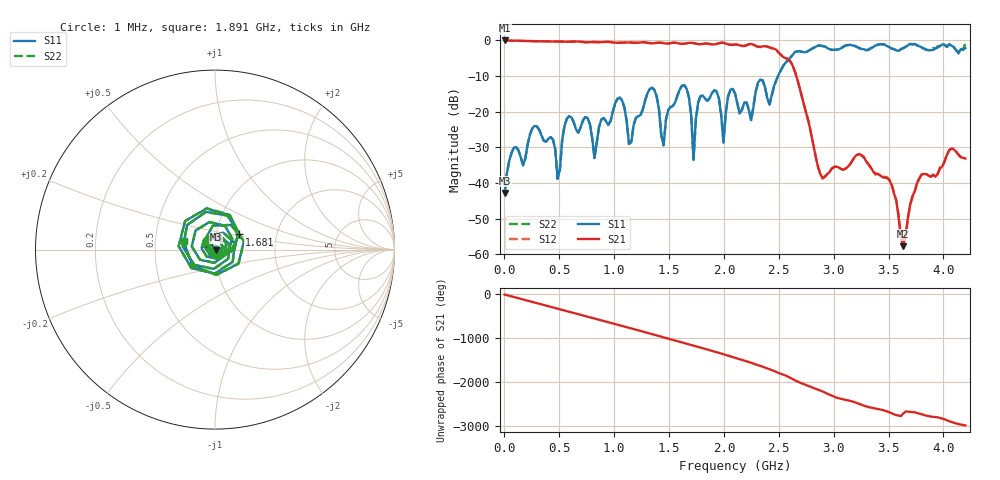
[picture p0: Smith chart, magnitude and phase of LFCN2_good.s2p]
# MHz S MA R 50
!  freq  S11  S21  S12  S22
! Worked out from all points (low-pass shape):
!   201 points, 1 MHz to 4.2 GHz, reference 50 ohm
!   highest |S21| = -0.07 dB at 1 MHz (marker M1); lowest = -57.7 dB at 3.633 GHz (marker M2)
!   |S21| within 3 dB of the highest: start of sweep to 2.488 GHz
!   lowest |S11| = -42.8 dB at 1 MHz (marker M3), VSWR 1.01, Z = 50.7 - j0.0346 ohm
!   |S11| at or under -10 dB: start of sweep to 2.493 GHz
!   |S22| runs from -43.1 to -0.7 dB; largest |S21 - S12| = 0.011
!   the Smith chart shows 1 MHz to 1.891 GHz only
!   S11 on the Smith chart (normalised r, x): 1 MHz: 1.01, -0.00; 1.681 GHz: 1.29, +0.22; 1.891 GHz: 0.70, +0.07
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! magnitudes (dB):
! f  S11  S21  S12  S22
! 1 MHz  -42.8  -0.1  -0.1  -43.1
! 273.9 MHz  -24.0  -0.3  -0.3  -24.0
! 483.9 MHz  -38.8  -0.4  -0.4  -38.9
! 567.9 MHz  -22.0  -0.4  -0.4  -22.0
! 714.8 MHz  -22.4  -0.5  -0.5  -22.5
! 819.8 MHz  -33.0  -0.5  -0.5  -33.0
! 1.03 GHz  -16.4  -0.7  -0.7  -16.4
! 1.135 GHz  -29.1  -0.6  -0.6  -29.1
! 1.408 GHz  -19.4  -0.7  -0.7  -19.4
! 1.45 GHz  -29.5  -0.8  -0.8  -29.5
! 1.681 GHz  -16.0  -0.8  -0.7  -15.9
! 1.723 GHz  -33.6  -0.8  -0.8  -33.3
! 1.765 GHz  -17.5  -1.1  -1.1  -17.5
! 1.891 GHz  -14.8  -1.2  -1.1  -14.8
! 1.996 GHz  -28.7  -0.7  -0.7  -28.5
! 2.1 GHz  -14.9  -1.2  -1.2  -14.9
! 2.604 GHz  -4.8  -5.9  -5.9  -4.9
! 2.814 GHz  -2.2  -29.4  -29.4  -2.1
! 3.507 GHz  -1.9  -39.2  -39.0  -1.9
! 3.633 GHz  -2.2  -57.7  -57.0  -2.3
! 3.801 GHz  -2.0  -37.7  -37.6  -2.1
! 4.2 GHz  -2.2  -33.2  -33.3  -0.7
